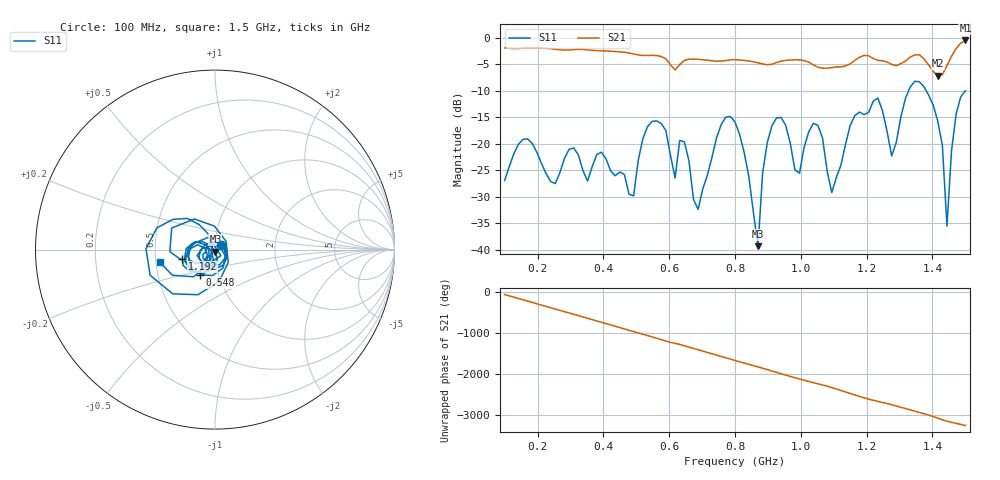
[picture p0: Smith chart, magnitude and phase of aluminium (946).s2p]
! NanoVNA-App
! Date: 2025-09-25 15:02:39
! Start: 100MHz Stop: 1,5GHz Points: 101
! S-Parameter data: F S11 S21 S12 S22
# Hz S RI R 50
!  Frequency  S11_Real  S11_Imag  S21_Real  S21_Imag  S12_Real  S12_Imag  S22_Real  S22_Imag
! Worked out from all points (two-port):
!   101 points, 100 MHz to 1.5 GHz, reference 50 ohm
!   highest |S21| = -0.51 dB at 1.5 GHz (marker M1); lowest = -7.1 dB at 1.416 GHz (marker M2)
!   |S21| within 3 dB of the highest: start of sweep to 573.8 MHz; 1.458 GHz to end of sweep (the widest 2 of 4)
!   lowest |S11| = -39.3 dB at 870 MHz (marker M3), VSWR 1.02, Z = 50.2 - j1.06 ohm
!   |S11| at or under -10 dB: start of sweep to 1.328 GHz; 1.381 GHz to 1.5 GHz (118.9 MHz wide, 8.26 % of centre)
!   S12 and S22 are empty: the file has one direction only
!   S11 on the Smith chart (normalised r, x): 100 MHz: 1.07, +0.06; 548 MHz: 0.82, -0.24; 1.192 GHz: 0.69, -0.07; 1.5 GHz: 0.52, -0.08
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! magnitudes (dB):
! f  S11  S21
! 100 MHz  -27.0  -1.9
! 156 MHz  -19.2  -2.0
! 338 MHz  -25.1  -2.2
! 492 MHz  -29.8  -3.1
! 548 MHz  -15.8  -3.3
! 576 MHz  -16.2  -3.5
! 646 MHz  -19.6  -4.3
! 688 MHz  -32.4  -4.1
! 800 MHz  -15.9  -4.1
! 870 MHz  -39.3  -4.7
! 912 MHz  -16.6  -5.0
! 996 MHz  -25.5  -4.2
! 1.038 GHz  -16.1  -5.1
! 1.094 GHz  -29.2  -5.6
! 1.192 GHz  -14.5  -3.3
! 1.234 GHz  -11.4  -4.3
! 1.276 GHz  -22.3  -5.0
! 1.346 GHz  -8.2  -3.3
! 1.416 GHz  -15.7  -7.1
! 1.444 GHz  -35.5  -5.3
! 1.472 GHz  -14.3  -2.0
! 1.5 GHz  -10.0  -0.5
